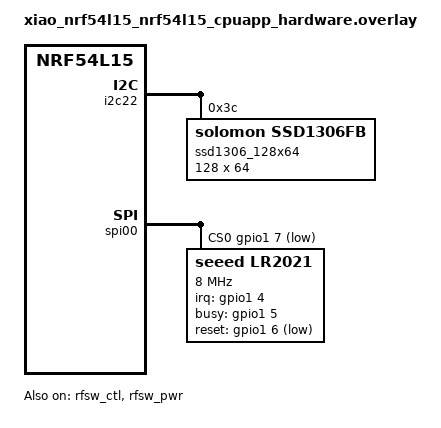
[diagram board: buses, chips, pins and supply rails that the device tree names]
/*
 * Meshtastic nRF54L15 — DTS overlay for REAL HARDWARE (XIAO nRF54L15 + Wio-LR2021)
 *
 * Uses spi00 (XIAO connector SPI) on Port 2 pins, matching the physical
 * Wio-LR2021 shield pinout. This differs from the simulation overlay which
 * uses spi22 on Port 1 pins (to match the Renode platform model).
 *
 * Pin mapping (matches official semtech_wio_lr2021 shield):
 *   D0  (P1.4)  → DIO8 (IRQ output)
 *   D1  (P1.5)  → BUSY
 *   D2  (P1.6)  → RESET (active-low)
 *   D3  (P1.7)  → CS (active-low)
 *   D8  (P2.1)  → SPI SCK
 *   D9  (P2.4)  → SPI MISO
 *   D10 (P2.2)  → SPI MOSI
 *
 * SPI pinctrl for spi00 is already defined in xiao_nrf54l15-pinctrl.dtsi
 * and enabled in xiao_nrf54l15_nrf54l15_cpuapp.dts — no pinctrl override needed.
 */

#include <zephyr/dt-bindings/gpio/gpio.h>

/*
 * The nRF54L15 has 256 KB SRAM total, split as 188 KB (cpuapp) + 68 KB
 * (cpuflpr) by default. We don't use the FLPR core, so give all 256 KB
 * to cpuapp.
 */
&cpuapp_sram {
	reg = <0x20000000 DT_SIZE_K(256)>;
	ranges = <0x0 0x20000000 DT_SIZE_K(256)>;
};

/*
 * Enable RF switch regulators on the LoRa Plus expansion board.
 * These control the antenna path — without them, the LR2021 has no RF output.
 * rfsw_ctl (P2.5) = RF switch control, rfsw_pwr (P2.3) = RF switch power.
 */
&rfsw_ctl {
	regulator-boot-on;
	status = "okay";
};

&rfsw_pwr {
	regulator-boot-on;
	status = "okay";
};

/*
 * SSD1306 128x64 OLED on the LoRa Plus expansion board.
 * Connected via I2C22 (D4=P1.10 SDA, D5=P1.11 SCL) at address 0x3c.
 * I2C22 pinctrl is already defined in the board DTS.
 */
/ {
	chosen {
		zephyr,display = &ssd1306_128x64;
	};
};

&i2c22 {
	status = "okay";
	zephyr,concat-buf-size = <4096>;

	ssd1306_128x64: ssd1306@3c {
		compatible = "solomon,ssd1306fb";
		reg = <0x3c>;
		width = <128>;
		height = <64>;
		segment-offset = <0>;
		page-offset = <0>;
		display-offset = <0>;
		multiplex-ratio = <63>;
		segment-remap;
		com-invdir;
		prechargep = <0x22>;
	};
};

&spi00 {
	status = "okay";
	cs-gpios = <&gpio1 7 GPIO_ACTIVE_LOW>;  /* D3 */

	lr2021: lr2021@0 {
		compatible = "seeed,lr2021";
		reg = <0>;
		spi-max-frequency = <DT_FREQ_M(8)>;
		irq-gpios = <&gpio1 4 (GPIO_ACTIVE_HIGH | GPIO_PULL_DOWN)>;    /* D0 — DIO8 */
		busy-gpios = <&gpio1 5 GPIO_ACTIVE_HIGH>;   /* D1 */
		reset-gpios = <&gpio1 6 GPIO_ACTIVE_LOW>;   /* D2 */
	};
};
